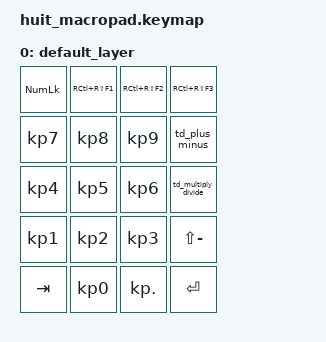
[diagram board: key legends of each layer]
/*
 * Copyright (c) 2022 The ZMK Contributors
 *
 * SPDX-License-Identifier: MIT
 */

#include <behaviors.dtsi>
#include <dt-bindings/zmk/keys.h>

#define DEFAULT 0

/ {
    behaviors {
        td_plus_minus: td_plus_minus {
            compatible = "zmk,behavior-tap-dance";
            #binding-cells = <0>;
            tapping-term-ms = <250>;
            bindings = <&kp KP_PLUS>, <&kp KP_MINUS>;
        };

        td_multiply_divide: td_multiply_divide {
            compatible = "zmk,behavior-tap-dance";
            #binding-cells = <0>;
            tapping-term-ms = <250>;
            bindings = <&kp KP_MULTIPLY>, <&kp KP_DIVIDE>;
        };
    };

    keymap {
        compatible = "zmk,keymap";

        default_layer {
            bindings = <
            &kp KP_NUM &kp RC(RS(F1)) &kp RC(RS(F2)) &kp RC(RS(F3))
            &kp KP_N7 &kp KP_N8 &kp KP_N9 &td_plus_minus
            &kp KP_N4 &kp KP_N5 &kp KP_N6 &td_multiply_divide
            &kp KP_N1 &kp KP_N2 &kp KP_N3 &kp LS(MINUS)
            &kp TAB &kp KP_N0 &kp KP_DOT &kp ENTER
            >;
        };
    };
};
